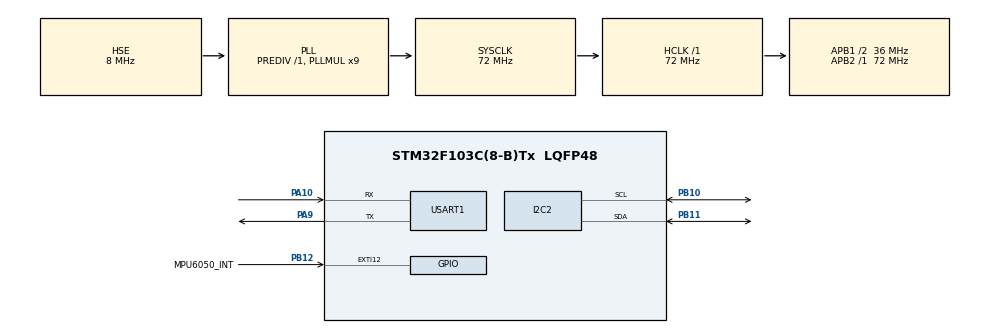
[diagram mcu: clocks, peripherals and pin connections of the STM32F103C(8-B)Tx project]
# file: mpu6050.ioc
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I2C2.I2C_Mode=I2C_Fast
Mcu.Family=STM32F1
Mcu.Name=STM32F103C(8-B)Tx
Mcu.Package=LQFP48
NVIC.EXTI15_10_IRQn=true\:0\:0\:false\:false\:true\:true\:true\:true
NVIC.PriorityGroup=NVIC_PRIORITYGROUP_4
PA10.Mode=Asynchronous
PA10.Signal=USART1_RX
PA13.Mode=Serial_Wire
PA13.Signal=SYS_JTMS-SWDIO
PA14.Mode=Serial_Wire
PA14.Signal=SYS_JTCK-SWCLK
PA9.Mode=Asynchronous
PA9.Signal=USART1_TX
PB10.Mode=I2C
PB10.Signal=I2C2_SCL
PB11.Mode=I2C
PB11.Signal=I2C2_SDA
PB12.GPIO_Label=MPU6050_INT
PB12.GPIO_ModeDefaultEXTI=GPIO_MODE_IT_FALLING
PB12.GPIO_PuPd=GPIO_PULLUP
PB12.Signal=GPXTI12
PC14-OSC32_IN.Mode=LSE-External-Oscillator
PC14-OSC32_IN.Signal=RCC_OSC32_IN
PC15-OSC32_OUT.Mode=LSE-External-Oscillator
PC15-OSC32_OUT.Signal=RCC_OSC32_OUT
PD0-OSC_IN.Mode=HSE-External-Oscillator
PD0-OSC_IN.Signal=RCC_OSC_IN
PD1-OSC_OUT.Mode=HSE-External-Oscillator
PD1-OSC_OUT.Signal=RCC_OSC_OUT
ProjectManager.HeapSize=0x200
ProjectManager.StackSize=0x400
ProjectManager.TargetToolchain=CMake
RCC.AHBFreq_Value=72000000
RCC.APB1CLKDivider=RCC_HCLK_DIV2
RCC.APB1Freq_Value=36000000
RCC.APB1TimFreq_Value=72000000
RCC.APB2Freq_Value=72000000
RCC.APB2TimFreq_Value=72000000
RCC.HCLKFreq_Value=72000000
RCC.PLLMUL=RCC_PLL_MUL9
RCC.PLLSourceVirtual=RCC_PLLSOURCE_HSE
RCC.SYSCLKFreq_VALUE=72000000
RCC.SYSCLKSource=RCC_SYSCLKSOURCE_PLLCLK
RCC.USBFreq_Value=72000000
USART1.VirtualMode=VM_ASYNC
board=custom

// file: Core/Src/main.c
/* USER CODE BEGIN Header */
/**
  ******************************************************************************
  * @file           : main.c
  * @brief          : Main program body
  ******************************************************************************
  * @attention
  *
  * Copyright (c) 2026 STMicroelectronics.
  * All rights reserved.
  *
  * This software is licensed under terms that can be found in the LICENSE file
  * in the root directory of this software component.
  * If no LICENSE file comes with this software, it is provided AS-IS.
  *
  ******************************************************************************
  */
/* USER CODE END Header */
#include "main.h"
#include "i2c.h"
#include "usart.h"
#include "gpio.h"

/* USER CODE BEGIN Includes */
#include "stdio.h"
#include "stdlib.h"
#include "mpu6050.h"
/* USER CODE END Includes */

void SystemClock_Config(void);

/* USER CODE BEGIN 0 */
MPU6050_S g_imu;
MPU6050_RAW_DATA_S g_raw;

int _write(int file, char *ptr, int len)
{
  HAL_UART_Transmit(&huart1, (uint8_t*)ptr, len, HAL_MAX_DELAY);
  return len;
}
/* USER CODE END 0 */

int main(void)
{

  /* USER CODE BEGIN 1 */
  float ax,ay,az,gx,gy,gz;

  /* USER CODE END 1 */

  /* MCU Configuration--------------------------------------------------------*/

  /* Reset of all peripherals, Initializes the Flash interface and the Systick. */
  HAL_Init();

  /* Configure the system clock */
  SystemClock_Config();

  /* Initialize all configured peripherals */
  MX_GPIO_Init();
  MX_I2C2_Init();
  MX_USART1_UART_Init();
  /* USER CODE BEGIN 2 */
  MPU6050_CFG_S cfg = {
    .hi2c = &hi2c2, .dev_addr = MPU6050_DEFAULT_ADDR,
    .gyro_range = MPU6050_GYRO_2000DPS, .accel_range = MPU6050_ACCEL_2G,
    .dlpf = MPU6050_DLPF_42HZ, .sample_rate = 100,.use_int = 1,
};
  MPU6050_Create(&g_imu, &cfg);

  if (!g_imu.who_am_i(&g_imu))
  {
    printf("MPU6050 error!\r\n");
    while (1);
  }
  /* USER CODE END 2 */

  /* Infinite loop */
  /* USER CODE BEGIN WHILE */
  while (1)
  {
    if (g_imu.is_data_ready(&g_imu))    /* INT: 有数据才进入; 轮询: 永真 */
    {
      if (g_imu.read_all_raw(&g_imu, &g_raw)) {
        ax = g_imu.accel_to_g(&g_imu, g_raw.accel_x);
        ay = g_imu.accel_to_g(&g_imu, g_raw.accel_y);
        az = g_imu.accel_to_g(&g_imu, g_raw.accel_z);
        gx = g_imu.gyro_to_dps(&g_imu, g_raw.gyro_x);
        gy = g_imu.gyro_to_dps(&g_imu, g_raw.gyro_y);
        gz = g_imu.gyro_to_dps(&g_imu, g_raw.gyro_z);

        printf("data: %d.%02d,%d.%02d,%d.%02d,%d.%02d,%d.%02d,%d.%02d\r\n",
      (int)ax, abs((int)(ax * 100) % 100),
      (int)ay, abs((int)(ay * 100) % 100),
      (int)az, abs((int)(az * 100) % 100),
      (int)gx, abs((int)(gx * 100) % 100),
      (int)gy, abs((int)(gy * 100) % 100),
      (int)gz, abs((int)(gz * 100) % 100));
      }
    }
    /* USER CODE END WHILE */

  }
}

void SystemClock_Config(void)
{
  RCC_OscInitTypeDef RCC_OscInitStruct = {0};
  RCC_ClkInitTypeDef RCC_ClkInitStruct = {0};

  /** Initializes the RCC Oscillators according to the specified parameters
  * in the RCC_OscInitTypeDef structure.
  */
  RCC_OscInitStruct.OscillatorType = RCC_OSCILLATORTYPE_HSE;
  RCC_OscInitStruct.HSEState = RCC_HSE_ON;
  RCC_OscInitStruct.HSEPredivValue = RCC_HSE_PREDIV_DIV1;
  RCC_OscInitStruct.HSIState = RCC_HSI_ON;
  RCC_OscInitStruct.PLL.PLLState = RCC_PLL_ON;
  RCC_OscInitStruct.PLL.PLLSource = RCC_PLLSOURCE_HSE;
  RCC_OscInitStruct.PLL.PLLMUL = RCC_PLL_MUL9;
  if (HAL_RCC_OscConfig(&RCC_OscInitStruct) != HAL_OK)
  {
    Error_Handler();
  }

  /** Initializes the CPU, AHB and APB buses clocks
  */
  RCC_ClkInitStruct.ClockType = RCC_CLOCKTYPE_HCLK|RCC_CLOCKTYPE_SYSCLK
                              |RCC_CLOCKTYPE_PCLK1|RCC_CLOCKTYPE_PCLK2;
  RCC_ClkInitStruct.SYSCLKSource = RCC_SYSCLKSOURCE_PLLCLK;
  RCC_ClkInitStruct.AHBCLKDivider = RCC_SYSCLK_DIV1;
  RCC_ClkInitStruct.APB1CLKDivider = RCC_HCLK_DIV2;
  RCC_ClkInitStruct.APB2CLKDivider = RCC_HCLK_DIV1;

  if (HAL_RCC_ClockConfig(&RCC_ClkInitStruct, FLASH_LATENCY_2) != HAL_OK)
  {
    Error_Handler();
  }
}

/* USER CODE BEGIN 4 */
void HAL_GPIO_EXTI_Callback(uint16_t GPIO_Pin)
{
  if (GPIO_Pin == MPU6050_INT_Pin)
  {
    g_imu.int_handler(&g_imu);
  }
}
/* USER CODE END 4 */

void Error_Handler(void)
{
  __disable_irq();
  while (1)
  {
  }
}
